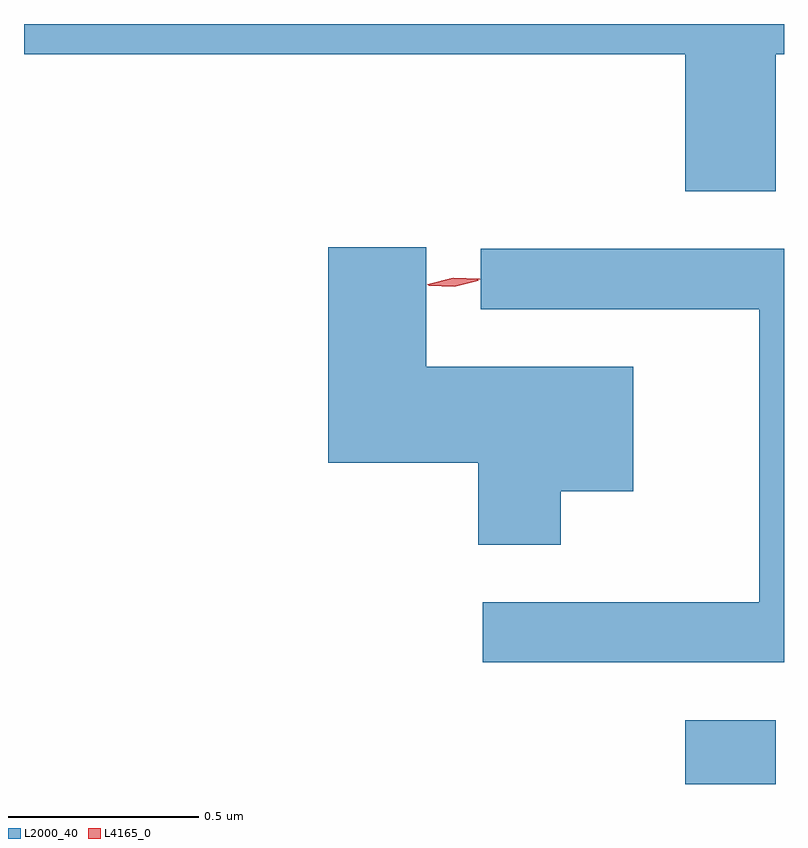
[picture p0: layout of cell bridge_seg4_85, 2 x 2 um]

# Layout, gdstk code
import gdstk
lib = gdstk.Library(unit=1e-6, precision=1e-09)
def R(c, l, rs):  # rectangles x0, y0, x1, y1
    for r in rs: c.add(gdstk.rectangle(r[:2], r[2:], *l))
def P(c, l, *ps):  # polygons
    for p in ps: c.add(gdstk.Polygon(p, *l))
L2000_40 = (2000, 40)
L4165_0 = (4165, 0)

bridge_seg4_85 = lib.new_cell('bridge_seg4_85')
R(bridge_seg4_85, L2000_40, [(1061.656,1383.836,1061.894,1384.004)])
P(bridge_seg4_85, L2000_40, [(1061.894,1385.756),(1061.916,1385.756),(1061.916,1385.836),(1059.916,1385.836),(1059.916,1385.756),(1061.656,1385.756),(1061.656,1385.396),(1061.894,1385.396)],
  [(1061.329,1384.606),(1061.519,1384.606),(1061.519,1384.934),(1060.974,1384.934),(1060.974,1385.249),(1060.716,1385.249),(1060.716,1384.681),(1061.111,1384.681),(1061.111,1384.466),(1061.329,1384.466)],
  [(1061.916,1385.244),(1061.118,1385.244),(1061.118,1385.086),(1061.851,1385.086),(1061.851,1384.314),(1061.123,1384.314),(1061.123,1384.156),(1061.916,1384.156)])
P(bridge_seg4_85, L4165_0, [(1061.048,1385.148),(1060.978,1385.15),(1060.977,1385.151),(1060.978,1385.151),(1061.046,1385.168),(1061.115,1385.165),(1061.116,1385.164),(1061.115,1385.164)],
  [(1061.048,1385.145),(1060.981,1385.147),(1060.981,1385.147),(1060.981,1385.148),(1061.045,1385.164),(1061.112,1385.162),(1061.112,1385.162),(1061.112,1385.161)])

lib.write_gds('bridge_seg4_85.gds')
